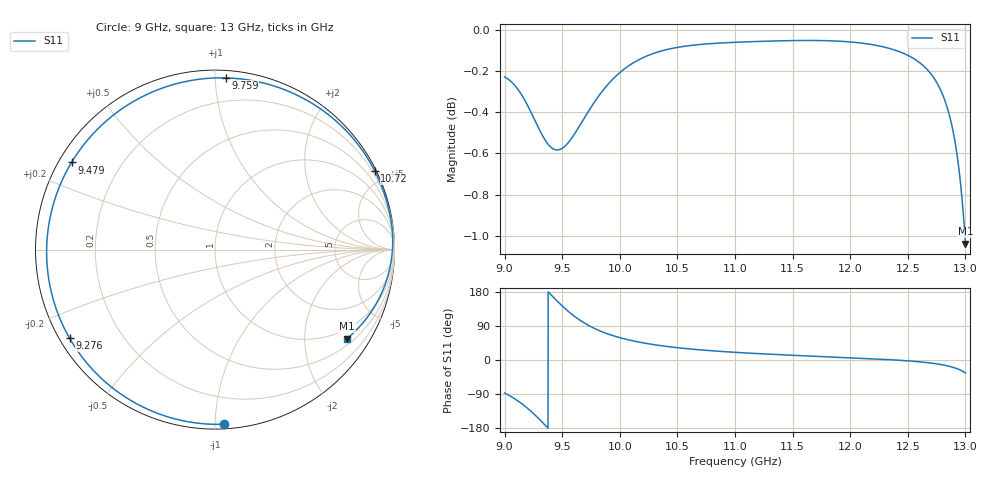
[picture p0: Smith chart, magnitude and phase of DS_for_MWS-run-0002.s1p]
! TOUCHSTONE file generated by CST DESIGN STUDIO
! Date and time: Tue Feb  4 15:43:00 2025
! Project name: C:\Work\MatlabApps\UnitCellOptimizationMatlab\CST\unitcell.cst
! Tree item: Tasks\Sweep1\SPara1\S-Parameters
! Header version: 2024
! Port assignment regex: !\s*Touchstone port\s*([0-9]+)\s*=\s*(CST MWS port|CST DES external port|CST DES block port)\s*(.+)\s* \(\"(.*)\"\)(\s*mode\s*([0-9]+))?.*
! Touchstone port assignment:
! Touchstone port 1 = CST DES external port 1 ("")
# GHz S MA R 50
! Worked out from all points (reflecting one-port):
!   4001 points, 9 GHz to 13 GHz, reference 50 ohm
!   lowest |S11| = -1.0 dB at 13 GHz (marker M1), VSWR 16.74, Z = 33.6 - j157 ohm
!   phase of S11 starts at -87 deg and turns -307 deg over the sweep
!   S11 on the Smith chart (normalised r, x): 9 GHz: 0.03, -1.05; 9.276 GHz: 0.03, -0.28; 9.479 GHz: 0.04, +0.28; 9.759 GHz: 0.05, +1.06; 10.72 GHz: 0.08, +4.28; 13 GHz: 0.67, -3.14
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9  0.9741 -87.2
9.081  0.97 -101.1
9.149  0.9642 -115.3
9.213  0.957 -131.0
9.276  0.9489 -148.6
9.328  0.9427 -164.4
9.377  0.9381 -179.8
9.426  0.9355 164.8
9.479  0.9353 148.7
9.5  0.9359 142.6
9.558  0.9393 126.9
9.618  0.9445 112.6
9.683  0.951 99.3
9.759  0.9585 86.4
9.873  0.9682 71.3
10  0.9764 58.9
10.101  0.9811 51.4
10.216  0.985 44.5
10.5  0.9903 32.5
10.718  0.992 26.3
11  0.9931 20.2
11.5  0.9941 12.5
12  0.9933 6.0
12.5  0.9859 -2.2
12.693  0.9763 -7.8
12.836  0.9588 -14.9
12.925  0.9336 -22.6
13  0.8873 -34.0
